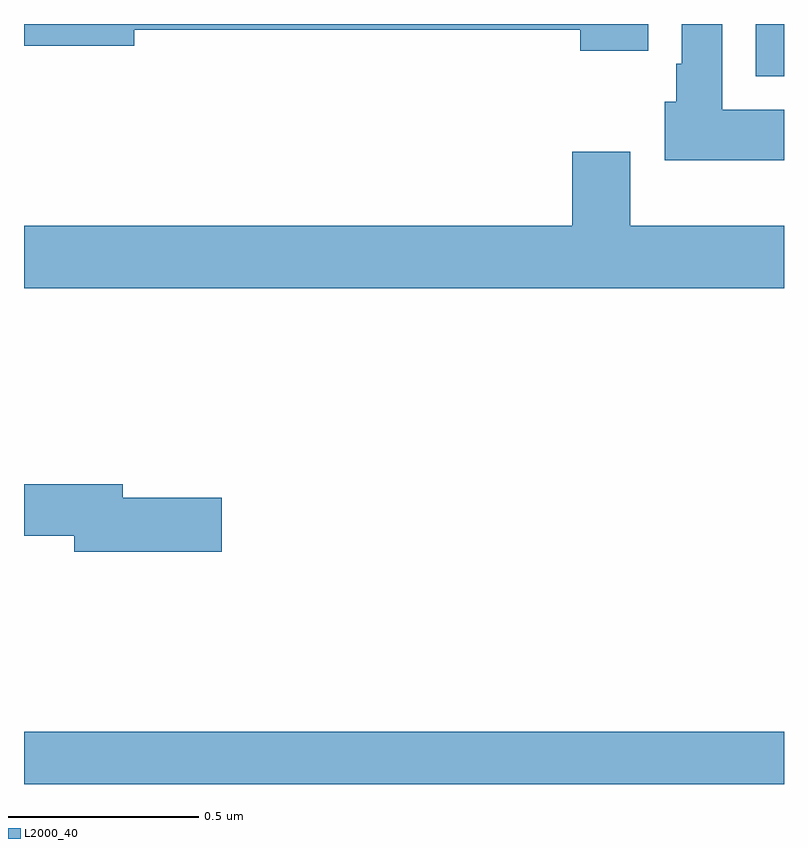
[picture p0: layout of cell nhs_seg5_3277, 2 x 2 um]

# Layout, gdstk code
import gdstk
lib = gdstk.Library(unit=1e-6, precision=1e-09)
def R(c, l, rs):  # rectangles x0, y0, x1, y1
    for r in rs: c.add(gdstk.rectangle(r[:2], r[2:], *l))
def P(c, l, *ps):  # polygons
    for p in ps: c.add(gdstk.Polygon(p, *l))
L2000_40 = (2000, 40)

nhs_seg5_3277 = lib.new_cell('nhs_seg5_3277')
R(nhs_seg5_3277, L2000_40, [(155,844.799,157,844.936), (156.926,846.662,157,846.799)])
P(nhs_seg5_3277, L2000_40, [(157,846.574),(156.838,846.574),(156.838,846.799),(156.731,846.799),(156.731,846.694),(156.716,846.694),(156.716,846.594),(156.686,846.594),(156.686,846.44),(157,846.44)],
  [(156.643,846.799),(155,846.799),(155,846.742),(155.29,846.742),(155.29,846.784),(156.464,846.784),(156.464,846.728),(156.643,846.728)],
  [(157,846.268),(156.595,846.268),(156.595,846.463),(156.443,846.463),(156.443,846.268),(155,846.268),(155,846.104),(157,846.104)],
  [(155.521,845.552),(155.26,845.552),(155.26,845.588),(155,845.588),(155,845.452),(155.132,845.452),(155.132,845.41),(155.521,845.41)])

lib.write_gds('nhs_seg5_3277.gds')
